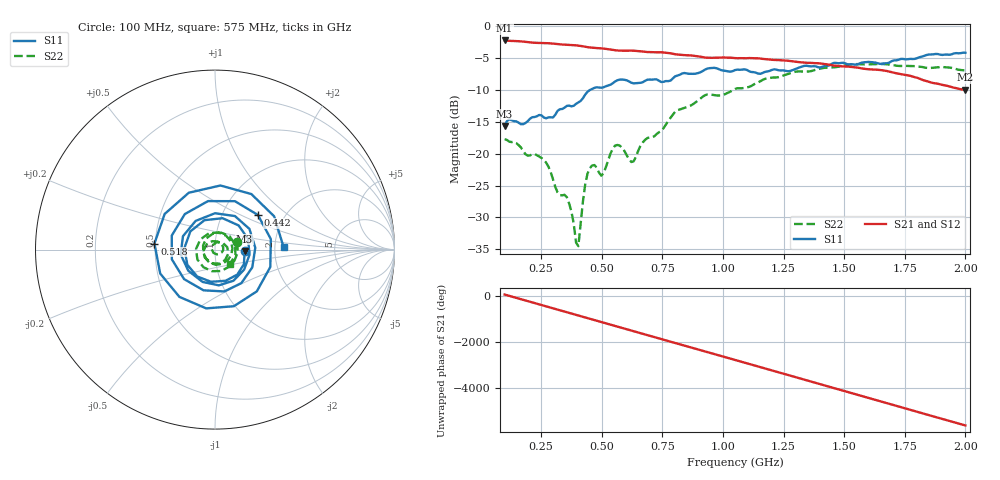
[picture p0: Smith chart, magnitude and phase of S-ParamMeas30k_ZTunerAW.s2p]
!Keysight Technologies,N5242B,MY48420967,A.15.65.19
!Date: Monday, December 19, 2022 10:00:43
!Correction: S11(C  2-Port  )
!S21(C  2-Port  )
!S12(C  2-Port  )
!S22(C  2-Port  )
!S2P File: Measurements: S11, S21, S12, S22:
# Hz S  dB  R 50
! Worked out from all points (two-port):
!   201 points, 100 MHz to 2 GHz, reference 50 ohm
!   highest |S21| = -2.21 dB at 100 MHz (marker M1); lowest = -9.9 dB at 2 GHz (marker M2)
!   |S21| within 3 dB of the highest: start of sweep to 1.194 GHz
!   lowest |S11| = -15.6 dB at 100 MHz (marker M3), VSWR 1.40, Z = 69.8 - j1.19 ohm
!   |S11| at or under -10 dB: start of sweep to 451.2 MHz
!   |S22| runs from -34.5 to -5.9 dB; largest |S21 - S12| = 0.00033
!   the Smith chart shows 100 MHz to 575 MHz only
!   S11 on the Smith chart (normalised r, x): 100 MHz: 1.40, -0.02; 442 MHz: 1.47, +0.63; 518 MHz: 0.49, +0.04; 575 MHz: 2.23, +0.08
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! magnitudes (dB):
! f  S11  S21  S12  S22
! 100 MHz  -15.6  -2.2  -2.2  -17.7
! 271 MHz  -14.4  -2.6  -2.6  -21.4
! 318.5 MHz  -13.3  -2.8  -2.8  -26.1
! 356.5 MHz  -12.5  -2.9  -2.9  -26.8
! 375.5 MHz  -12.6  -2.9  -2.9  -29.1
! 394.5 MHz  -12.2  -3.0  -3.0  -33.9
! 404 MHz  -11.9  -3.0  -3.0  -34.5
! 423 MHz  -11.3  -3.1  -3.1  -27.5
! 442 MHz  -10.2  -3.3  -3.3  -23.1
! 470.5 MHz  -9.6  -3.4  -3.4  -21.8
! 499 MHz  -9.6  -3.4  -3.4  -23.4
! 518 MHz  -9.4  -3.5  -3.5  -22.0
! 546.5 MHz  -8.9  -3.7  -3.7  -19.1
! 575 MHz  -8.4  -3.8  -3.8  -18.7
! 632 MHz  -8.9  -3.8  -3.8  -21.2
! 670 MHz  -8.8  -3.9  -3.9  -18.2
! 736.5 MHz  -8.5  -4.1  -4.1  -16.6
! 812.5 MHz  -7.7  -4.4  -4.4  -13.2
! 1.05 GHz  -6.9  -5.0  -5.0  -9.8
! 1.373 GHz  -6.2  -5.8  -5.8  -6.9
! 1.687 GHz  -5.7  -7.1  -7.1  -6.0
! 2 GHz  -4.1  -9.9  -9.9  -6.9
